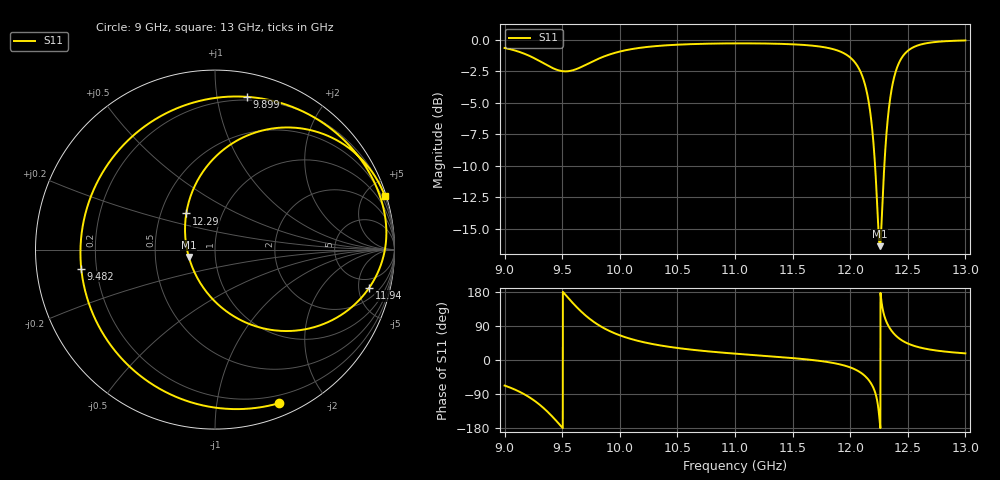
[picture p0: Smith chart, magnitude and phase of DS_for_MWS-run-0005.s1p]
! TOUCHSTONE file generated by CST DESIGN STUDIO
! Date and time: Tue Feb  4 17:49:36 2025
! Project name: C:\Work\MatlabApps\UnitCellOptimizationMatlab\CST\unitcell.cst
! Tree item: Tasks\Sweep1\SPara1\S-Parameters
! Header version: 2024
! Port assignment regex: !\s*Touchstone port\s*([0-9]+)\s*=\s*(CST MWS port|CST DES external port|CST DES block port)\s*(.+)\s* \(\"(.*)\"\)(\s*mode\s*([0-9]+))?.*
! Touchstone port assignment:
! Touchstone port 1 = CST DES external port 1 ("")
# GHz S MA R 50
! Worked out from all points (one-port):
!   4001 points, 9 GHz to 13 GHz, reference 50 ohm
!   lowest |S11| = -16.4 dB at 12.26 GHz (marker M1), VSWR 1.36, Z = 37.2 - j3.18 ohm
!   |S11| at or under -10 dB: 12.22 GHz to 12.3 GHz (80.25 MHz wide, 0.655 % of centre)
!   S11 on the Smith chart (normalised r, x): 9 GHz: 0.12, -1.49; 9.482 GHz: 0.14, -0.07; 9.899 GHz: 0.17, +1.22; 11.94 GHz: 3.32, -6.52; 12.29 GHz: 0.67, +0.29; 13 GHz: 0.16, +6.49
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9  0.9269 -67.4
9.156  0.8848 -87.9
9.27  0.8382 -109.9
9.371  0.7906 -136.1
9.482  0.7527 -171.9
9.5  0.7501 -178.1
9.586  0.7546 152.3
9.694  0.7903 119.8
9.787  0.829 97.9
9.899  0.8695 78.2
10  0.8969 65.1
10.216  0.933 46.4
10.5  0.955 31.7
11  0.9665 16.7
11.5  0.9584 5.0
11.942  0.8848 -13.9
12  0.8498 -19.5
12.092  0.7416 -33.5
12.167  0.5425 -55.4
12.212  0.337 -81.5
12.257  0.1516 -164.0
12.286  0.2572 128.5
12.324  0.4739 94.6
12.371  0.6763 72.5
12.433  0.8255 55.0
12.5  0.9029 43.5
12.677  0.9705 28.4
13  0.9926 17.5
